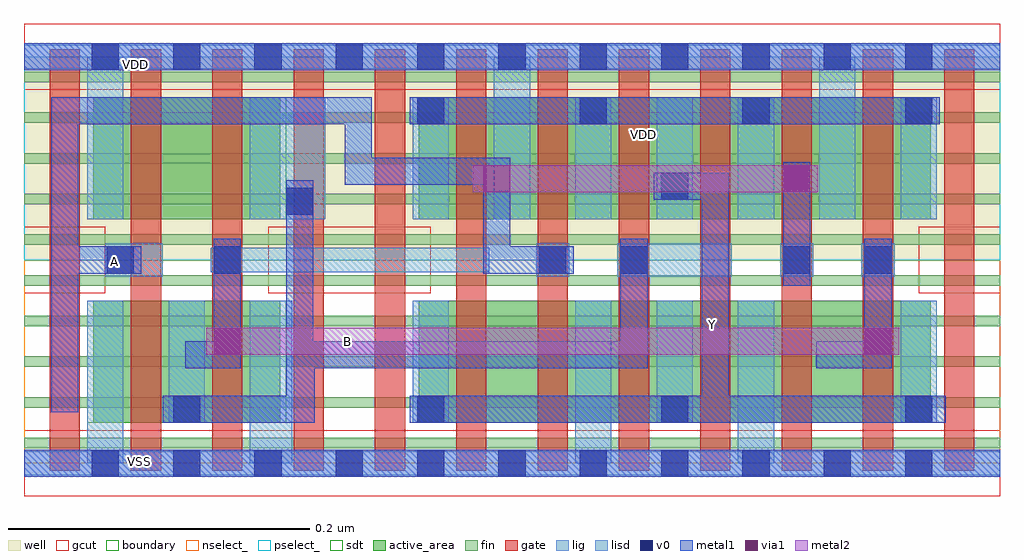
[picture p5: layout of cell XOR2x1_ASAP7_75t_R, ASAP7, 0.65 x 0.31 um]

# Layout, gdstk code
import gdstk
lib = gdstk.Library(unit=1e-6, precision=1e-09)
def R(c, l, rs):  # rectangles x0, y0, x1, y1
    for r in rs: c.add(gdstk.rectangle(r[:2], r[2:], *l))
def A(c, l, x, y, w, h, nx, ny, dx, dy):  # array of equal rectangles
    R(c, l, [(x+i*dx, y+j*dy, x+i*dx+w, y+j*dy+h) for i in range(nx) for j in range(ny)])
def P(c, l, *ps):  # polygons
    for p in ps: c.add(gdstk.Polygon(p, *l))
well = (1, 0)
fin = (2, 0)
gate = (7, 0)
gcut = (10, 0)
active_area = (11, 0)
nselect_ = (12, 0)
pselect_ = (13, 0)
lig = (16, 0)
lisd = (17, 0)
v0 = (18, 0)
metal1 = (19, 0)
metal2 = (20, 0)
via1 = (21, 0)
sdt = (88, 0)
boundary = (100, 0)

xor2x1_asap7_75t_r = lib.new_cell('XOR2x1_ASAP7_75t_R')
R(xor2x1_asap7_75t_r, well, [(0,0.135,0.648,0.27)])
A(xor2x1_asap7_75t_r, fin, 0, 0.01, 0.486, 0.007, 1, 10, 0, 0.027)
A(xor2x1_asap7_75t_r, fin, 0.378, 0.01, 0.27, 0.007, 1, 10, 0, 0.027)
A(xor2x1_asap7_75t_r, gate, 0.017, -0.005, 0.02, 0.28, 8, 1, 0.054, 0)
A(xor2x1_asap7_75t_r, gate, 0.449, -0.005, 0.02, 0.28, 4, 1, 0.054, 0)
R(xor2x1_asap7_75t_r, gate, [(0.395,-0.005,0.415,0.275), (0.449,-0.005,0.469,0.275)])
R(xor2x1_asap7_75t_r, gcut, [(0,-0.022,0.486,0.022), (0.378,-0.022,0.648,0.022), (0,0.113,0.054,0.157), (0.162,0.113,0.27,0.157), (0.594,0.113,0.648,0.157), (0,0.248,0.486,0.292), (0.378,0.248,0.648,0.292)])
R(xor2x1_asap7_75t_r, active_area, [(0.046,0.027,0.17,0.108), (0.262,0.027,0.44,0.108), (0.424,0.027,0.602,0.108), (0.046,0.162,0.17,0.243), (0.262,0.162,0.44,0.243), (0.424,0.162,0.602,0.243)])
R(xor2x1_asap7_75t_r, nselect_, [(0,0,0.486,0.135), (0.378,0,0.648,0.135)])
R(xor2x1_asap7_75t_r, pselect_, [(0,0.135,0.486,0.27), (0.378,0.135,0.648,0.27)])
A(xor2x1_asap7_75t_r, lig, 0.448, 0.124, 0.022, 0.022, 3, 1, 0.054, 0)
R(xor2x1_asap7_75t_r, lig, [(0,-0.008,0.486,0.008), (0.378,-0.008,0.648,0.008), (0.054,0.124,0.092,0.146), (0.34,0.124,0.362,0.146), (0.394,0.124,0.448,0.146), (0.124,0.127,0.309,0.143), (0,0.262,0.486,0.278), (0.378,0.262,0.648,0.278)])
A(xor2x1_asap7_75t_r, lisd, 0.096, 0.027, 0.024, 0.081, 3, 1, 0.162, 0)
R(xor2x1_asap7_75t_r, lisd, [(0.042,0,0.066,0.108), (0.15,0,0.178,0.108), (0.366,0,0.39,0.108), (0.474,0,0.498,0.108), (0.42,0.027,0.444,0.108), (0.582,0.027,0.606,0.108), (0.042,0.162,0.066,0.27), (0.15,0.162,0.2,0.243), (0.258,0.162,0.282,0.243), (0.312,0.162,0.336,0.27), (0.366,0.162,0.39,0.243), (0.42,0.162,0.444,0.243), (0.42,0.162,0.444,0.243), (0.474,0.162,0.498,0.243), (0.528,0.162,0.552,0.27), (0.582,0.162,0.606,0.243)])
A(xor2x1_asap7_75t_r, v0, 0.045, -0.009, 0.018, 0.018, 11, 2, 0.054, 0.27)
A(xor2x1_asap7_75t_r, v0, 0.099, 0.027, 0.018, 0.018, 4, 1, 0.162, 0)
A(xor2x1_asap7_75t_r, v0, 0.261, 0.225, 0.018, 0.018, 4, 1, 0.108, 0)
R(xor2x1_asap7_75t_r, v0, [(0.055,0.126,0.073,0.144), (0.126,0.126,0.144,0.144), (0.342,0.126,0.36,0.144), (0.396,0.126,0.414,0.144), (0.504,0.126,0.522,0.144), (0.558,0.126,0.576,0.144), (0.174,0.165,0.192,0.183), (0.423,0.175,0.441,0.193)])
R(xor2x1_asap7_75t_r, metal1, [(0,-0.009,0.648,0.009), (0.504,0.118,0.522,0.2), (0.256,0.225,0.608,0.243), (0,0.261,0.648,0.279)])
P(xor2x1_asap7_75t_r, metal1, [(0.018,0.034),(0.018,0.243),(0.231,0.243),(0.231,0.203),(0.323,0.203),(0.323,0.144),(0.365,0.144),(0.365,0.126),(0.305,0.126),(0.305,0.185),(0.213,0.185),(0.213,0.225),(0.036,0.225),(0.036,0.144),(0.078,0.144),(0.078,0.126),(0.036,0.126),(0.036,0.034)],
  [(0.107,0.063),(0.107,0.081),(0.126,0.081),(0.126,0.149),(0.144,0.149),(0.144,0.063)],
  [(0.526,0.063),(0.526,0.081),(0.558,0.081),(0.558,0.149),(0.576,0.149),(0.576,0.063)],
  [(0.092,0.027),(0.092,0.045),(0.174,0.045),(0.174,0.188),(0.192,0.188),(0.192,0.081),(0.396,0.081),(0.396,0.149),(0.414,0.149),(0.414,0.063),(0.193,0.063),(0.193,0.027)],
  [(0.256,0.027),(0.256,0.045),(0.45,0.045),(0.45,0.175),(0.418,0.175),(0.418,0.193),(0.468,0.193),(0.468,0.045),(0.612,0.045),(0.612,0.027)])
R(xor2x1_asap7_75t_r, metal2, [(0.121,0.072,0.581,0.09), (0.298,0.18,0.527,0.198)])
R(xor2x1_asap7_75t_r, via1, [(0.126,0.072,0.144,0.09), (0.558,0.072,0.576,0.09), (0.305,0.18,0.323,0.198), (0.504,0.18,0.522,0.198)])
A(xor2x1_asap7_75t_r, sdt, 0.042, 0.027, 0.024, 0.081, 3, 1, 0.054, 0)
A(xor2x1_asap7_75t_r, sdt, 0.042, 0.162, 0.024, 0.081, 3, 1, 0.108, 0)
A(xor2x1_asap7_75t_r, sdt, 0.312, 0.162, 0.024, 0.081, 3, 1, 0.054, 0)
A(xor2x1_asap7_75t_r, sdt, 0.42, 0.162, 0.024, 0.081, 4, 1, 0.054, 0)
R(xor2x1_asap7_75t_r, sdt, [(0.258,0.027,0.282,0.108), (0.366,0.027,0.39,0.108), (0.42,0.027,0.444,0.108), (0.42,0.027,0.444,0.108), (0.474,0.027,0.498,0.108), (0.582,0.027,0.606,0.108)])
R(xor2x1_asap7_75t_r, boundary, [(0,0,0.648,0.27)])
xor2x1_asap7_75t_r.add(gdstk.Label('Y', (0.457,0.092), layer=19, texttype=251))
xor2x1_asap7_75t_r.add(gdstk.Label('VDD', (0.074,0.265), layer=19, texttype=251))
xor2x1_asap7_75t_r.add(gdstk.Label('VSS', (0.077,0.001), layer=19, texttype=251))
xor2x1_asap7_75t_r.add(gdstk.Label('A', (0.06,0.134), layer=19, texttype=251))
xor2x1_asap7_75t_r.add(gdstk.Label('VDD', (0.411,0.218), layer=1, texttype=251))
xor2x1_asap7_75t_r.add(gdstk.Label('VSS', (0.342,-0.045), layer=3, texttype=251))
xor2x1_asap7_75t_r.add(gdstk.Label('B', (0.215,0.081), layer=20, texttype=251))

lib.write_gds('XOR2x1_ASAP7_75t_R.gds')
